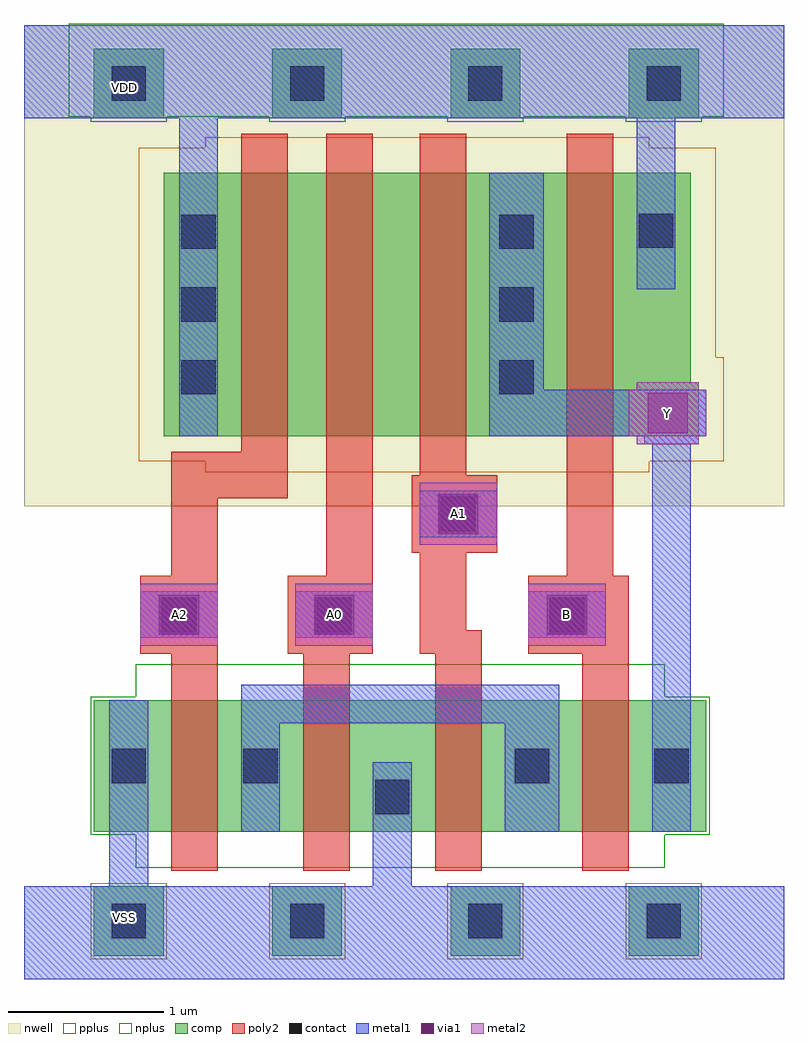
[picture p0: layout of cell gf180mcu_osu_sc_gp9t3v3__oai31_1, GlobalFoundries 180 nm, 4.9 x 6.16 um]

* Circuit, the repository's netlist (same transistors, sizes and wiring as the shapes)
* Copyright 2022 Google LLC
*
* Licensed under the Apache License, Version 2.0 (the "License");
* you may not use this file except in compliance with the License.
* You may obtain a copy of the License at
*
*      http://www.apache.org/licenses/LICENSE-2.0
*
* Unless required by applicable law or agreed to in writing, software
* distributed under the License is distributed on an "AS IS" BASIS,
* WITHOUT WARRANTIES OR CONDITIONS OF ANY KIND, either express or implied.
* See the License for the specific language governing permissions and
* limitations under the License.

.option scale=0.05u

.subckt gf180mcu_osu_sc_gp9t3v3__oai31_1 Y A0 A1 B A2
X0 a_25_19 A1 VSS VSS nmos_3p3 w=17 l=6
X1 a_25_19 A2 VSS VSS nmos_3p3 w=17 l=6
X2 Y A1 a_45_70 VDD pmos_3p3 w=34 l=6
X3 Y B a_25_19 VSS nmos_3p3 w=17 l=6
X4 a_34_70 A2 VDD VDD pmos_3p3 w=34 l=6
X5 VSS A0 a_25_19 VSS nmos_3p3 w=17 l=6
X6 a_45_70 A0 a_34_70 VDD pmos_3p3 w=34 l=6
X7 VDD B Y VDD pmos_3p3 w=34 l=6
.ends

** hspice subcircuit dictionary

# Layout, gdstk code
import gdstk
lib = gdstk.Library(unit=1e-6, precision=1e-09)
def R(c, l, rs):  # rectangles x0, y0, x1, y1
    for r in rs: c.add(gdstk.rectangle(r[:2], r[2:], *l))
def A(c, l, x, y, w, h, nx, ny, dx, dy):  # array of equal rectangles
    R(c, l, [(x+i*dx, y+j*dy, x+i*dx+w, y+j*dy+h) for i in range(nx) for j in range(ny)])
nwell = (21, 0)
comp = (22, 0)
poly2 = (30, 0)
pplus = (31, 0)
nplus = (32, 0)
contact = (33, 0)
metal1 = (34, 0)
via1 = (35, 0)
metal2 = (36, 0)

gf180mcu_osu_sc_gp9t3v3_ = lib.new_cell('gf180mcu_osu_sc_gp9t3v3__oai31_1')
R(gf180mcu_osu_sc_gp9t3v3_, nwell, [(0,3.05,4.9,6.15)])
A(gf180mcu_osu_sc_gp9t3v3_, comp, 0.45, 0.15, 0.45, 0.45, 4, 2, 1.15, 5.4)
R(gf180mcu_osu_sc_gp9t3v3_, comp, [(0.45,0.95,4.4,1.8), (0.9,3.5,4.35,3.85), (0.9,3.85,4.3,5.2)])
A(gf180mcu_osu_sc_gp9t3v3_, poly2, 0.95, 0.7, 0.3, 1.4, 3, 1, 0.85, 0)
R(gf180mcu_osu_sc_gp9t3v3_, poly2, [(3.6,0.7,3.9,2.1), (0.75,2.1,1.25,2.6), (1.7,2.1,2.25,2.6), (2.55,2.1,2.95,2.25), (3.25,2.1,3.9,2.6), (2.55,2.25,2.85,2.75), (0.95,2.6,1.25,3.1), (1.95,2.6,2.25,5.45), (3.5,2.6,3.8,5.45), (2.5,2.75,3.05,3.25), (0.95,3.1,1.7,3.4), (2.55,3.25,2.85,5.45), (1.4,3.4,1.7,5.45)])
A(gf180mcu_osu_sc_gp9t3v3_, pplus, 0.43, 0.13, 0.49, 0.49, 4, 1, 1.15, 0)
R(gf180mcu_osu_sc_gp9t3v3_, pplus, [(1.17,3.27,4.03,3.34), (0.74,3.34,4.51,4.01), (0.74,4.01,4.46,5.36), (1.17,5.36,4.03,5.43)])
A(gf180mcu_osu_sc_gp9t3v3_, nplus, 0.43, 5.53, 0.49, 0.03, 4, 1, 1.15, 0)
R(gf180mcu_osu_sc_gp9t3v3_, nplus, [(0.72,0.72,4.13,0.93), (0.43,0.93,4.42,1.82), (0.72,1.82,4.13,2.03), (0.29,5.56,4.51,6.16)])
A(gf180mcu_osu_sc_gp9t3v3_, contact, 0.565, 0.265, 0.22, 0.22, 4, 2, 1.15, 5.4)
A(gf180mcu_osu_sc_gp9t3v3_, contact, 1.015, 3.77, 0.22, 0.22, 1, 3, 0, 0.47)
A(gf180mcu_osu_sc_gp9t3v3_, contact, 3.065, 3.77, 0.22, 0.22, 1, 3, 0, 0.47)
R(gf180mcu_osu_sc_gp9t3v3_, contact, [(2.265,1.065,2.485,1.285), (0.565,1.265,0.785,1.485), (1.415,1.265,1.635,1.485), (3.165,1.265,3.385,1.485), (4.065,1.265,4.285,1.485), (0.89,2.24,1.11,2.46), (1.89,2.24,2.11,2.46), (3.39,2.24,3.61,2.46), (2.69,2.89,2.91,3.11), (3.965,4.715,4.185,4.935)])
R(gf180mcu_osu_sc_gp9t3v3_, metal1, [(0,0,4.9,0.6), (0.55,0.6,0.8,1.8), (2.25,0.6,2.5,1.4), (1.4,0.95,1.65,1.65), (3.1,0.95,3.45,1.65), (4.05,0.95,4.3,3.45), (1.4,1.65,3.45,1.9), (0.75,2.2,1.25,2.5), (1.75,2.2,2.25,2.5), (3.25,2.2,3.75,2.5), (2.55,2.85,3.05,3.15), (4,3.45,4.35,3.5), (1,3.5,1.25,5.55), (3,3.5,4.4,3.8), (3,3.8,3.35,5.2), (3.95,4.45,4.2,5.55), (0,5.55,4.9,6.15)])
R(gf180mcu_osu_sc_gp9t3v3_, via1, [(0.87,2.22,1.13,2.48), (1.87,2.22,2.13,2.48), (3.37,2.22,3.63,2.48), (2.67,2.87,2.93,3.13), (4.02,3.52,4.28,3.78)])
R(gf180mcu_osu_sc_gp9t3v3_, metal2, [(0.75,2.15,1.25,2.55), (1.75,2.15,2.25,2.55), (3.25,2.15,3.75,2.55), (2.55,2.8,3.05,3.2), (3.95,3.45,4.35,3.5), (3.9,3.5,4.4,3.8), (3.95,3.8,4.35,3.85)])
gf180mcu_osu_sc_gp9t3v3_.add(gdstk.Label('VDD', (0.65,5.75), layer=34, texttype=0))
gf180mcu_osu_sc_gp9t3v3_.add(gdstk.Label('VSS', (0.65,0.4), layer=34, texttype=0))
gf180mcu_osu_sc_gp9t3v3_.add(gdstk.Label('Y', (4.15,3.65), layer=36, texttype=10))
gf180mcu_osu_sc_gp9t3v3_.add(gdstk.Label('A0', (2,2.35), layer=36, texttype=10))
gf180mcu_osu_sc_gp9t3v3_.add(gdstk.Label('A1', (2.8,3), layer=36, texttype=10))
gf180mcu_osu_sc_gp9t3v3_.add(gdstk.Label('B', (3.5,2.35), layer=36, texttype=10))
gf180mcu_osu_sc_gp9t3v3_.add(gdstk.Label('A2', (1,2.35), layer=36, texttype=10))

lib.write_gds('gf180mcu_osu_sc_gp9t3v3__oai31_1.gds')
